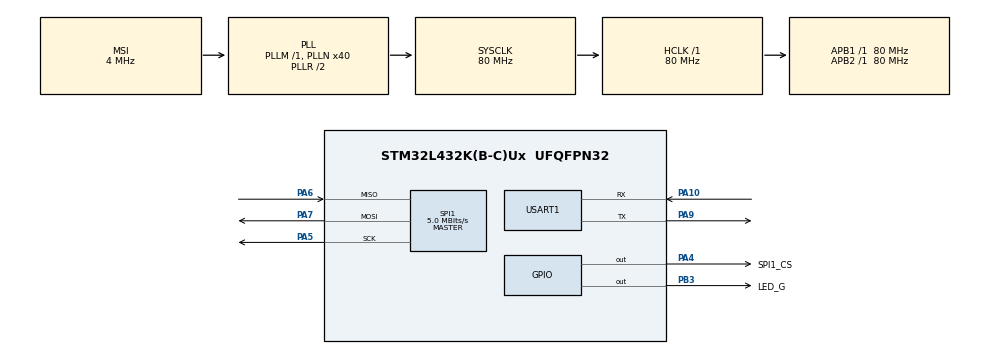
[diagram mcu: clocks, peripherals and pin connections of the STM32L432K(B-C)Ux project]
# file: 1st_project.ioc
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Mcu.Family=STM32L4
Mcu.Name=STM32L432K(B-C)Ux
Mcu.Package=UFQFPN32
NVIC.PriorityGroup=NVIC_PRIORITYGROUP_4
PA10.Mode=Asynchronous
PA10.Signal=USART1_RX
PA13\ (JTMS-SWDIO).Mode=Serial_Wire
PA13\ (JTMS-SWDIO).Signal=SYS_JTMS-SWDIO
PA14\ (JTCK-SWCLK).Mode=Serial_Wire
PA14\ (JTCK-SWCLK).Signal=SYS_JTCK-SWCLK
PA4.GPIO_Label=SPI1_CS
PA4.Signal=GPIO_Output
PA5.Mode=Full_Duplex_Master
PA5.Signal=SPI1_SCK
PA6.Mode=Full_Duplex_Master
PA6.Signal=SPI1_MISO
PA7.Mode=Full_Duplex_Master
PA7.Signal=SPI1_MOSI
PA9.Mode=Asynchronous
PA9.Signal=USART1_TX
PB3\ (JTDO-TRACESWO).GPIO_Label=LED_G
PB3\ (JTDO-TRACESWO).Signal=GPIO_Output
ProjectManager.HeapSize=0x200
ProjectManager.StackSize=0x400
ProjectManager.TargetToolchain=MDK-ARM V5.32
RCC.AHBFreq_Value=80000000
RCC.APB1Freq_Value=80000000
RCC.APB1TimFreq_Value=80000000
RCC.APB2Freq_Value=80000000
RCC.APB2TimFreq_Value=80000000
RCC.CortexFreq_Value=80000000
RCC.HCLKFreq_Value=80000000
RCC.HSE_VALUE=8000000
RCC.HSI48_VALUE=48000000
RCC.HSI_VALUE=16000000
RCC.LSE_VALUE=32768
RCC.MSI_VALUE=4000000
RCC.PLLN=40
RCC.SYSCLKFreq_VALUE=80000000
RCC.SYSCLKSource=RCC_SYSCLKSOURCE_PLLCLK
RCC.VCOOutputFreq_Value=160000000
SPI1.BaudRatePrescaler=SPI_BAUDRATEPRESCALER_16
SPI1.CLKPhase=SPI_PHASE_2EDGE
SPI1.CLKPolarity=SPI_POLARITY_HIGH
SPI1.CalculateBaudRate=5.0 MBits/s
SPI1.DataSize=SPI_DATASIZE_8BIT
SPI1.Direction=SPI_DIRECTION_2LINES
SPI1.Mode=SPI_MODE_MASTER
SPI1.VirtualType=VM_MASTER
USART1.VirtualMode-Asynchronous=VM_ASYNC
board=custom

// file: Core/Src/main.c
/* USER CODE BEGIN Header */
/**
  ******************************************************************************
  * @file           : main.c
  * @brief          : Main program body
  ******************************************************************************
  * @attention
  *
  * Copyright (c) 2023 STMicroelectronics.
  * All rights reserved.
  *
  * This software is licensed under terms that can be found in the LICENSE file
  * in the root directory of this software component.
  * If no LICENSE file comes with this software, it is provided AS-IS.
  *
  ******************************************************************************
  */
/* USER CODE END Header */
#include "main.h"

/* USER CODE BEGIN Includes */
#include "lis3dh_reg.h"
#include "NanoEdgeAI.h"
#include <string.h>
#include <stdio.h>

/* USER CODE END Includes */

/* USER CODE BEGIN PD */
#define SENSOR_BUS hspi1
#define BUFFER_SIZE     512
#define NB_AXES         3

/* USER CODE END PD */

SPI_HandleTypeDef hspi1;

UART_HandleTypeDef huart1;

/* USER CODE BEGIN PV */

stmdev_ctx_t dev_ctx;//lis3dh抽象成设备
static int16_t data_raw_acceleration[3];
static uint8_t whoamI;
static uint8_t tx_buffer[1000];
float acc_buffer[BUFFER_SIZE * 3] = {0};

/* USER CODE END PV */

void SystemClock_Config(void);
static void MX_GPIO_Init(void);
static void MX_SPI1_Init(void);
static void MX_USART1_UART_Init(void);
/* USER CODE BEGIN PFP */
static int32_t platform_write(void *handle, uint8_t reg, const uint8_t *bufp,
                              uint16_t len);
static int32_t platform_read(void *handle, uint8_t reg, uint8_t *bufp,
                             uint16_t len);
static void tx_com(uint8_t *tx_buffer, uint16_t len);

/* USER CODE END PFP */

/* USER CODE BEGIN 0 */

static int32_t platform_write(void *handle, uint8_t reg, const uint8_t *bufp,
                              uint16_t len)
{
  /* Write multiple command */
  reg |= 0x40;
  HAL_GPIO_WritePin(SPI1_CS_GPIO_Port, SPI1_CS_Pin, GPIO_PIN_RESET);
  HAL_SPI_Transmit(handle, &reg, 1, 1000);
  HAL_SPI_Transmit(handle, (uint8_t*) bufp, len, 1000);
  HAL_GPIO_WritePin(SPI1_CS_GPIO_Port, SPI1_CS_Pin, GPIO_PIN_SET);
  return 0;
}

static int32_t platform_read(void *handle, uint8_t reg, uint8_t *bufp,
                             uint16_t len)
{
  /* Read multiple command */
  reg |= 0xC0;
  HAL_GPIO_WritePin(SPI1_CS_GPIO_Port, SPI1_CS_Pin, GPIO_PIN_RESET);
  HAL_SPI_Transmit(handle, &reg, 1, 1000);
  HAL_SPI_Receive(handle, bufp, len, 1000);
  HAL_GPIO_WritePin(SPI1_CS_GPIO_Port, SPI1_CS_Pin, GPIO_PIN_SET);
  return 0;
}

//寄存器中的值传到控制器
static void tx_com(uint8_t *tx_buffer, uint16_t len)
{
	HAL_UART_Transmit(&huart1, tx_buffer, len, 1000);
}

//填充数据到buffer里
void fill_accelerometer_buffer(void)
{
   lis3dh_reg_t reg;

   for (uint16_t i = 0; i < BUFFER_SIZE; i++) {
	 lis3dh_xl_data_ready_get(&dev_ctx, &reg.byte);//判断SPI操作是否成功
	/*byte是传感器的状态，用于判断是加速度数据是否可用，不可用就跳到下一个循环，直到有一个可用的数据*/
	 if (reg.byte) {
		 	lis3dh_acceleration_raw_get(&dev_ctx, data_raw_acceleration);
			acc_buffer[NB_AXES * i] = data_raw_acceleration[0];
			acc_buffer[(NB_AXES * i) + 1] = data_raw_acceleration[1];
			acc_buffer[(NB_AXES * i) + 2] = data_raw_acceleration[2];
	  } else {
		 i--; // New data not ready
	  }
   }
}
//buffer里的数据打印出来
void output_data(void)
{
   for (uint16_t isample = 0; isample < (NB_AXES * BUFFER_SIZE) - 1; isample++) {
      printf("%.4f ", acc_buffer[isample]);
   }
   printf("%.4f\n", acc_buffer[(NB_AXES * BUFFER_SIZE) - 1]);
}
/* USER CODE END 0 */

int main(void)
{
  /* USER CODE BEGIN 1 */
  uint8_t similarity = 0;
  /* USER CODE END 1 */

  /* MCU Configuration--------------------------------------------------------*/

  /* Reset of all peripherals, Initializes the Flash interface and the Systick. */
  HAL_Init();

  /* Configure the system clock */
  SystemClock_Config();

  /* Initialize all configured peripherals */
  MX_GPIO_Init();
  MX_SPI1_Init();
  MX_USART1_UART_Init();
  /* USER CODE BEGIN 2 */

  dev_ctx.write_reg = platform_write;
  dev_ctx.read_reg = platform_read;
  dev_ctx.handle = &SENSOR_BUS;//要操作外设的句柄，句柄用来区分外设在哪根总线上

  lis3dh_device_id_get(&dev_ctx, &whoamI);

  if (whoamI != LIS3DH_ID) {
    while (1) {
      /* manage here device not found */
    }
  }

//传感器配置
  lis3dh_block_data_update_set(&dev_ctx, PROPERTY_ENABLE);
  /* 设置输出数据速率 Set Output Data Rate to 1Hz. */
  lis3dh_data_rate_set(&dev_ctx, LIS3DH_ODR_1Hz);
  /* 量程设置为2g，如果不符合，去到枚举定义中复制过来改
  Set full scale to 2g. */
  lis3dh_full_scale_set(&dev_ctx, LIS3DH_2g);
  /* Set device in continuous mode with 12 bit resol. */
  lis3dh_operating_mode_set(&dev_ctx, LIS3DH_HR_12bit);

//算法库初始化，未初始化成功打印错误
  if(neai_anomalydetection_init()!=NEAI_OK)
	  printf("error\n");

//算法学习,学一次
	for (uint16_t iteration = 0 ; iteration < 20 ; iteration++) {
		fill_accelerometer_buffer();
		neai_anomalydetection_learn(acc_buffer);
	}
	printf("learn end\n");

  /* USER CODE END 2 */

  /* Infinite loop */
  /* USER CODE BEGIN WHILE */
 while (1)
 {
//异常检测，循环进行
	 fill_accelerometer_buffer();
	 neai_anomalydetection_detect(acc_buffer, &similarity);
	 printf("similarity = %d\r\n", similarity);
    /* USER CODE END WHILE */

    /* USER CODE BEGIN 3 */
	 if(similarity<90)
	 {
		 printf("通风口阻塞\n");
	 }
 }
  /* USER CODE END 3 */
}

void SystemClock_Config(void)
{
  RCC_OscInitTypeDef RCC_OscInitStruct = {0};
  RCC_ClkInitTypeDef RCC_ClkInitStruct = {0};

  /** Configure the main internal regulator output voltage
  */
  if (HAL_PWREx_ControlVoltageScaling(PWR_REGULATOR_VOLTAGE_SCALE1) != HAL_OK)
  {
    Error_Handler();
  }

  /** Initializes the RCC Oscillators according to the specified parameters
  * in the RCC_OscInitTypeDef structure.
  */
  RCC_OscInitStruct.OscillatorType = RCC_OSCILLATORTYPE_MSI;
  RCC_OscInitStruct.MSIState = RCC_MSI_ON;
  RCC_OscInitStruct.MSICalibrationValue = 0;
  RCC_OscInitStruct.MSIClockRange = RCC_MSIRANGE_6;
  RCC_OscInitStruct.PLL.PLLState = RCC_PLL_ON;
  RCC_OscInitStruct.PLL.PLLSource = RCC_PLLSOURCE_MSI;
  RCC_OscInitStruct.PLL.PLLM = 1;
  RCC_OscInitStruct.PLL.PLLN = 40;
  RCC_OscInitStruct.PLL.PLLP = RCC_PLLP_DIV7;
  RCC_OscInitStruct.PLL.PLLQ = RCC_PLLQ_DIV2;
  RCC_OscInitStruct.PLL.PLLR = RCC_PLLR_DIV2;
  if (HAL_RCC_OscConfig(&RCC_OscInitStruct) != HAL_OK)
  {
    Error_Handler();
  }

  /** Initializes the CPU, AHB and APB buses clocks
  */
  RCC_ClkInitStruct.ClockType = RCC_CLOCKTYPE_HCLK|RCC_CLOCKTYPE_SYSCLK
                              |RCC_CLOCKTYPE_PCLK1|RCC_CLOCKTYPE_PCLK2;
  RCC_ClkInitStruct.SYSCLKSource = RCC_SYSCLKSOURCE_PLLCLK;
  RCC_ClkInitStruct.AHBCLKDivider = RCC_SYSCLK_DIV1;
  RCC_ClkInitStruct.APB1CLKDivider = RCC_HCLK_DIV1;
  RCC_ClkInitStruct.APB2CLKDivider = RCC_HCLK_DIV1;

  if (HAL_RCC_ClockConfig(&RCC_ClkInitStruct, FLASH_LATENCY_4) != HAL_OK)
  {
    Error_Handler();
  }
}

static void MX_SPI1_Init(void)
{

  /* SPI1 parameter configuration*/
  hspi1.Instance = SPI1;
  hspi1.Init.Mode = SPI_MODE_MASTER;
  hspi1.Init.Direction = SPI_DIRECTION_2LINES;
  hspi1.Init.DataSize = SPI_DATASIZE_8BIT;
  hspi1.Init.CLKPolarity = SPI_POLARITY_HIGH;
  hspi1.Init.CLKPhase = SPI_PHASE_2EDGE;
  hspi1.Init.NSS = SPI_NSS_SOFT;
  hspi1.Init.BaudRatePrescaler = SPI_BAUDRATEPRESCALER_16;
  hspi1.Init.FirstBit = SPI_FIRSTBIT_MSB;
  hspi1.Init.TIMode = SPI_TIMODE_DISABLE;
  hspi1.Init.CRCCalculation = SPI_CRCCALCULATION_DISABLE;
  hspi1.Init.CRCPolynomial = 7;
  hspi1.Init.CRCLength = SPI_CRC_LENGTH_DATASIZE;
  hspi1.Init.NSSPMode = SPI_NSS_PULSE_DISABLE;
  if (HAL_SPI_Init(&hspi1) != HAL_OK)
  {
    Error_Handler();
  }

}

static void MX_USART1_UART_Init(void)
{

  huart1.Instance = USART1;
  huart1.Init.BaudRate = 115200;
  huart1.Init.WordLength = UART_WORDLENGTH_8B;
  huart1.Init.StopBits = UART_STOPBITS_1;
  huart1.Init.Parity = UART_PARITY_NONE;
  huart1.Init.Mode = UART_MODE_TX_RX;
  huart1.Init.HwFlowCtl = UART_HWCONTROL_NONE;
  huart1.Init.OverSampling = UART_OVERSAMPLING_16;
  huart1.Init.OneBitSampling = UART_ONE_BIT_SAMPLE_DISABLE;
  huart1.AdvancedInit.AdvFeatureInit = UART_ADVFEATURE_NO_INIT;
  if (HAL_UART_Init(&huart1) != HAL_OK)
  {
    Error_Handler();
  }

}

static void MX_GPIO_Init(void)
{
  GPIO_InitTypeDef GPIO_InitStruct = {0};

  /* GPIO Ports Clock Enable */
  __HAL_RCC_GPIOA_CLK_ENABLE();
  __HAL_RCC_GPIOB_CLK_ENABLE();

  /*Configure GPIO pin Output Level */
  HAL_GPIO_WritePin(SPI1_CS_GPIO_Port, SPI1_CS_Pin, GPIO_PIN_RESET);

  /*Configure GPIO pin Output Level */
  HAL_GPIO_WritePin(LED_G_GPIO_Port, LED_G_Pin, GPIO_PIN_RESET);

  /*Configure GPIO pin : SPI1_CS_Pin */
  GPIO_InitStruct.Pin = SPI1_CS_Pin;
  GPIO_InitStruct.Mode = GPIO_MODE_OUTPUT_PP;
  GPIO_InitStruct.Pull = GPIO_NOPULL;
  GPIO_InitStruct.Speed = GPIO_SPEED_FREQ_LOW;
  HAL_GPIO_Init(SPI1_CS_GPIO_Port, &GPIO_InitStruct);

  /*Configure GPIO pin : LED_G_Pin */
  GPIO_InitStruct.Pin = LED_G_Pin;
  GPIO_InitStruct.Mode = GPIO_MODE_OUTPUT_PP;
  GPIO_InitStruct.Pull = GPIO_NOPULL;
  GPIO_InitStruct.Speed = GPIO_SPEED_FREQ_LOW;
  HAL_GPIO_Init(LED_G_GPIO_Port, &GPIO_InitStruct);

}

void Error_Handler(void)
{
  __disable_irq();
  while (1)
  {
  }
}
